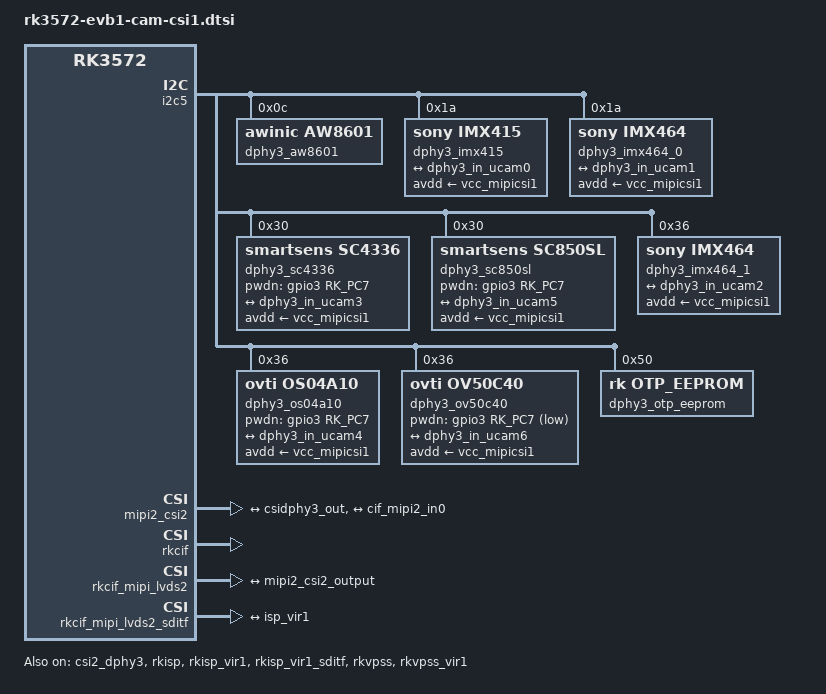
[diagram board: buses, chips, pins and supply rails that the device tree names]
// SPDX-License-Identifier: (GPL-2.0+ OR MIT)
/*
 * Copyright (c) 2026 Rockchip Electronics Co., Ltd.
 *
 */

&csi2_dphy3 {
	status = "okay";

	ports {
		#address-cells = <1>;
		#size-cells = <0>;
		port@0 {
			reg = <0>;
			#address-cells = <1>;
			#size-cells = <0>;

			dphy3_in_ucam0: endpoint@1 {
				reg = <1>;
				remote-endpoint = <&dphy3_imx415_out0>;
				data-lanes = <1 2 3 4>;
			};

			dphy3_in_ucam1: endpoint@2 {
				reg = <2>;
				remote-endpoint = <&dphy3_imx464_out0>;
				data-lanes = <1 2>;
			};

			dphy3_in_ucam2: endpoint@3 {
				reg = <3>;
				remote-endpoint = <&dphy3_imx464_out1>;
				data-lanes = <1 2>;
			};

			dphy3_in_ucam3: endpoint@4 {
				reg = <4>;
				remote-endpoint = <&dphy3_sc4336_out>;
				data-lanes = <1 2>;
			};

			dphy3_in_ucam4: endpoint@5 {
				reg = <5>;
				remote-endpoint = <&dphy3_os04a10_out>;
				data-lanes = <1 2>;
			};

			dphy3_in_ucam5: endpoint@6 {
				reg = <6>;
				remote-endpoint = <&dphy3_sc850sl_out>;
				data-lanes = <1 2 3 4>;
			};

			dphy3_in_ucam6: endpoint@7 {
				reg = <7>;
				remote-endpoint = <&dphy3_ov50c40_out>;
				data-lanes = <1 2 3 4>;
			};
		};
		port@1 {
			reg = <1>;
			#address-cells = <1>;
			#size-cells = <0>;

			csidphy3_out: endpoint@0 {
				reg = <0>;
				remote-endpoint = <&mipi2_csi2_input>;
			};
		};
	};
};

&i2c5 {
	status = "okay";
	pinctrl-0 = <&i2c5m3_xfer_pins>;

	dphy3_aw8601: dphy3-aw8601@c {
		compatible = "awinic,aw8601";
		status = "okay";
		reg = <0x0c>;
		rockchip,vcm-start-current = <56>;
		rockchip,vcm-rated-current = <96>;
		rockchip,vcm-step-mode = <4>;
		rockchip,camera-module-index = <0>;
		rockchip,camera-module-facing = "back";
	};

	dphy3_imx415: dphy3-imx415@1a {
		compatible = "sony,imx415";
		reg = <0x1a>;
		clocks = <&cru CAM_CLK2_OUT_IOUT>;
		clock-names = "xvclk";
		pinctrl-names = "default";
		pinctrl-0 = <&cam_clk2m0_clk2_pins>;
		power-domains = <&power RK3572_PD_VI>;
		/* reset need connect to dovdd */
		avdd-supply = <&vcc_mipicsi1>;
		rockchip,camera-module-index = <1>;
		rockchip,camera-module-facing = "back";
		rockchip,camera-module-name = "CMK-OT2022-PX1";
		rockchip,camera-module-lens-name = "IR0147-50IRC-8M-F20";
		port {
			dphy3_imx415_out0: endpoint {
				remote-endpoint = <&dphy3_in_ucam0>;
				data-lanes = <1 2 3 4>;
			};
		};
	};

	dphy3_imx464_0: dphy3-imx464-0@1a {
		compatible = "sony,imx464";
		status = "okay";
		reg = <0x1a>;
		clocks = <&cru CAM_CLK2_OUT_IOUT>;
		clock-names = "xvclk";
		power-domains = <&power RK3572_PD_VI>;
		/* reset need connect to dovdd */
		pinctrl-names = "default";
		pinctrl-0 = <&cam_clk2m0_clk2_pins>;
		avdd-supply = <&vcc_mipicsi1>;
		rockchip,camera-module-index = <1>;
		rockchip,camera-module-facing = "back";
		rockchip,camera-module-name = "CMK-OT1980-PX1";
		rockchip,camera-module-lens-name = "SHG102";
		port {
			dphy3_imx464_out0: endpoint {
				remote-endpoint = <&dphy3_in_ucam1>;
				data-lanes = <1 2>;
			};
		};
	};

	dphy3_sc4336: dphy3-sc4336@30 {
		compatible = "smartsens,sc4336";
		status = "okay";
		reg = <0x30>;
		clocks = <&cru CAM_CLK2_OUT_IOUT>;
		clock-names = "xvclk";
		power-domains = <&power RK3572_PD_VI>;
		pinctrl-names = "default";
		/* reset need connect to dovdd */
		pwdn-gpios = <&gpio3 RK_PC7 GPIO_ACTIVE_HIGH>;
		pinctrl-0 = <&cam_clk2m0_clk2_pins>;
		avdd-supply = <&vcc_mipicsi1>;
		rockchip,camera-module-index = <1>;
		rockchip,camera-module-facing = "back";
		rockchip,camera-module-name = "OT01";
		rockchip,camera-module-lens-name = "40IRC_F16";
		port {
			dphy3_sc4336_out: endpoint {
				remote-endpoint = <&dphy3_in_ucam3>;
				data-lanes = <1 2>;
			};
		};
	};

	dphy3_sc850sl: dphy3-sc850sl@30 {
		compatible = "smartsens,sc850sl";
		status = "okay";
		reg = <0x30>;
		clocks = <&cru CAM_CLK2_OUT_IOUT>;
		clock-names = "xvclk";
		power-domains = <&power RK3572_PD_VI>;
		pinctrl-names = "default";
		/* reset need connect to dovdd */
		pwdn-gpios = <&gpio3 RK_PC7 GPIO_ACTIVE_HIGH>;
		pinctrl-0 = <&cam_clk2m0_clk2_pins>;
		avdd-supply = <&vcc_mipicsi1>;
		rockchip,camera-module-index = <1>;
		rockchip,camera-module-facing = "back";
		rockchip,camera-module-name = "default";
		rockchip,camera-module-lens-name = "default";
		port {
			dphy3_sc850sl_out: endpoint {
				remote-endpoint = <&dphy3_in_ucam5>;
				data-lanes = <1 2 3 4>;
			};
		};
	};

	dphy3_imx464_1: dphy3-imx464-1@36 {
		compatible = "sony,imx464";
		status = "okay";
		reg = <0x36>;
		clocks = <&cru CAM_CLK2_OUT_IOUT>;
		clock-names = "xvclk";
		power-domains = <&power RK3572_PD_VI>;
		pinctrl-names = "default";
		/* reset need connect to dovdd */
		pinctrl-0 = <&cam_clk2m0_clk2_pins>;
		avdd-supply = <&vcc_mipicsi1>;
		rockchip,camera-module-index = <1>;
		rockchip,camera-module-facing = "back";
		rockchip,camera-module-name = "CMK-OT1980-PX1";
		rockchip,camera-module-lens-name = "SHG102";
		port {
			dphy3_imx464_out1: endpoint {
				remote-endpoint = <&dphy3_in_ucam2>;
				data-lanes = <1 2>;
			};
		};
	};

	dphy3_os04a10: dphy3-os04a10@36 {
		compatible = "ovti,os04a10";
		status = "okay";
		reg = <0x36>;
		clocks = <&cru CAM_CLK2_OUT_IOUT>;
		clock-names = "xvclk";
		power-domains = <&power RK3572_PD_VI>;
		pinctrl-names = "default";
		/* reset need connect to dovdd */
		pwdn-gpios = <&gpio3 RK_PC7 GPIO_ACTIVE_HIGH>;
		pinctrl-0 = <&cam_clk2m0_clk2_pins>;
		avdd-supply = <&vcc_mipicsi1>;
		rockchip,camera-module-index = <1>;
		rockchip,camera-module-facing = "back";
		rockchip,camera-module-name = "CMK-OT1607-FV1";
		rockchip,camera-module-lens-name = "M12-40IRC-4MP-F16";
		port {
			dphy3_os04a10_out: endpoint {
				remote-endpoint = <&dphy3_in_ucam4>;
				data-lanes = <1 2>;
			};
		};
	};

	dphy3_ov50c40: dphy3-ov50c40@36 {
		compatible = "ovti,ov50c40";
		status = "okay";
		reg = <0x36>;
		clocks = <&cru CAM_CLK2_OUT_IOUT>;
		clock-names = "xvclk";
		power-domains = <&power RK3572_PD_VI>;
		pinctrl-names = "default";
		pinctrl-0 = <&cam_clk2m0_clk2_pins>;
		pwdn-gpios = <&gpio3 RK_PC7 GPIO_ACTIVE_LOW>;
		avdd-supply = <&vcc_mipicsi1>;
		rockchip,camera-module-index = <1>;
		rockchip,camera-module-facing = "back";
		rockchip,camera-module-name = "HZGA06";
		rockchip,camera-module-lens-name = "ZE0082C1";
		eeprom-ctrl = <&dphy3_otp_eeprom>;
		lens-focus = <&dphy3_aw8601>;
		port {
			dphy3_ov50c40_out: endpoint {
				remote-endpoint = <&dphy3_in_ucam6>;
				data-lanes = <1 2 3 4>;
			};
		};
	};

	dphy3_otp_eeprom: dphy3-otp_eeprom@50 {
		compatible = "rk,otp_eeprom";
		status = "okay";
		reg = <0x50>;
	};

};

&mipi2_csi2 {
	status = "okay";

	ports {
		#address-cells = <1>;
		#size-cells = <0>;

		port@0 {
			reg = <0>;
			#address-cells = <1>;
			#size-cells = <0>;

			mipi2_csi2_input: endpoint@1 {
				reg = <1>;
				remote-endpoint = <&csidphy3_out>;
			};
		};

		port@1 {
			reg = <1>;
			#address-cells = <1>;
			#size-cells = <0>;

			mipi2_csi2_output: endpoint@0 {
				reg = <0>;
				remote-endpoint = <&cif_mipi2_in0>;
			};
		};
	};
};

&rkcif {
	status = "okay";
};

&rkcif_mipi_lvds2 {
	status = "okay";

	port {
		cif_mipi2_in0: endpoint {
			remote-endpoint = <&mipi2_csi2_output>;
		};
	};
};

&rkcif_mipi_lvds2_sditf {
	status = "okay";

	port {
		mipi2_lvds_sditf: endpoint {
			remote-endpoint = <&isp_vir1>;
		};
	};
};

&rkcif_mmu {
	status = "okay";
};

&rkisp {
	status = "okay";
};

&rkisp_mmu {
	status = "okay";
};

&rkisp_vir1 {
	status = "okay";

	port {
		#address-cells = <1>;
		#size-cells = <0>;

		isp_vir1: endpoint@0 {
			reg = <0>;
			remote-endpoint = <&mipi2_lvds_sditf>;
		};
	};
};

&rkisp_vir1_sditf {
	status = "okay";
};

&rkvpss {
	status = "okay";
};

&rkvpss_mmu {
	status = "okay";
};

&rkvpss_vir1 {
	status = "okay";
};
